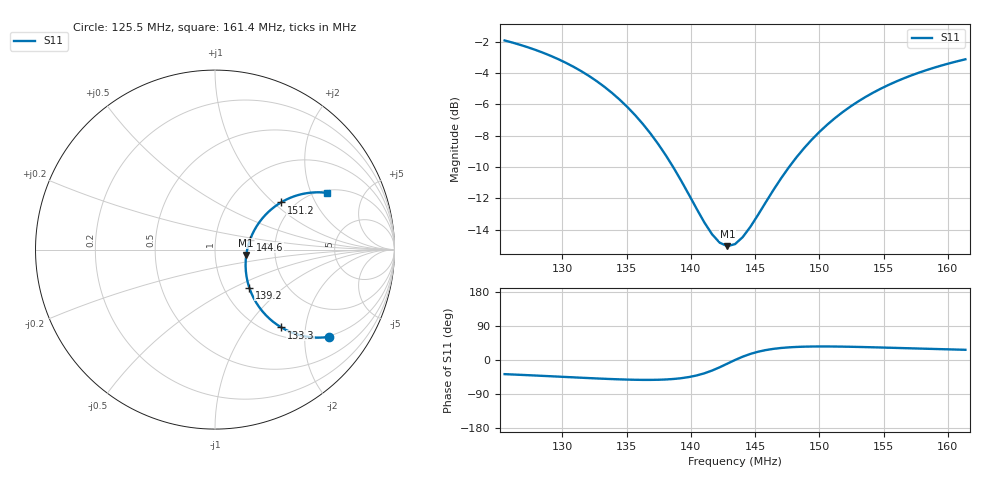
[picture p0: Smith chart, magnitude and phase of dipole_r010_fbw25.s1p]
! Free-space dipole, 1.0 m, 1.0 mm radius
! resonance 143.42 MHz, antenna Q 7.2, fractional bandwidth 25%
! generated with NEC via necpp
# MHZ S MA R 50
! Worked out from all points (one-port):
!   61 points, 125.5 MHz to 161.4 MHz, reference 50 ohm
!   lowest |S11| = -15.1 dB at 142.8 MHz (marker M1), VSWR 1.43, Z = 70.9 - j4.32 ohm
!   |S11| at or under -10 dB: 138.6 MHz to 147.6 MHz (9.031 MHz wide, 6.31 % of centre)
!   S11 on the Smith chart (normalised r, x): 125.5 MHz: 0.97, -2.64; 133.3 MHz: 1.15, -1.48; 139.2 MHz: 1.31, -0.61; 144.6 MHz: 1.47, +0.17; 151.2 MHz: 1.70, +1.12; 161.4 MHz: 2.11, +2.60
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125.4965  0.8014 -37.3
127.8869  0.7479 -41.0
130.2773  0.6795 -44.8
132.0701  0.617 -47.7
133.2653  0.5698 -49.6
134.4606  0.5181 -51.1
135.6558  0.4626 -52.2
136.851  0.4041 -52.5
138.0462  0.3442 -51.4
139.2414  0.2855 -48.0
140.4366  0.2326 -40.8
141.0342  0.2105 -35.2
141.6318  0.1929 -27.9
142.2294  0.1813 -19.2
142.827  0.1766 -9.6
143.4246  0.1793 -0.0
144.0222  0.1887 8.7
144.6198  0.2035 16.0
145.815  0.2438 26.2
147.0102  0.2908 31.7
148.2054  0.3393 34.5
149.4006  0.3865 35.6
151.1934  0.4525 35.5
152.9862  0.5112 34.5
154.779  0.5624 33.0
157.1694  0.6203 30.8
158.9623  0.6568 29.1
161.3527  0.6977 26.9
